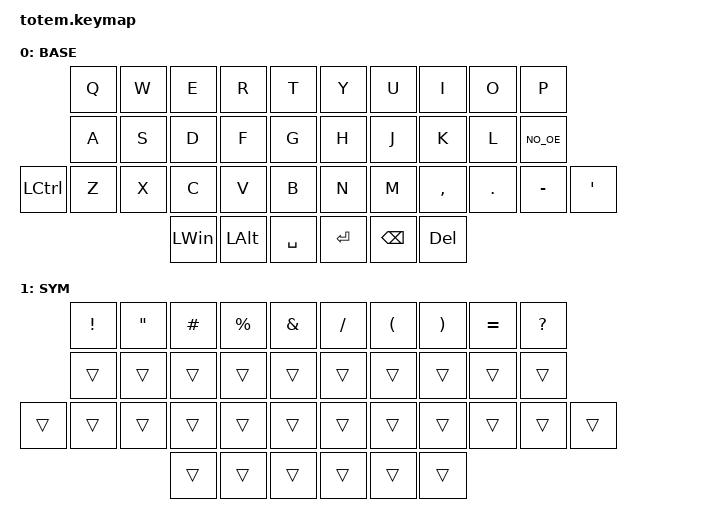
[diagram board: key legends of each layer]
//
//                                                        ▀▀▀▀▀     ▀▀▀▀▀          ▀▀█▀▀
//                                                        ▄▀▀▀▄  ▄  ▄▀▀▀▄  ▄  ▄▀▀▀▄  █  ▄▀▀▀▄
//                                                        █   █  █  █   █  █  █   █  █  █   █
//                                                         ▀▀▀   █   ▀▀▀   █   ▀▀▀   ▀   ▀▀▀
//                                                               █      ▄▄▄█▄▄▄    █   █  
//                                                               ▀      █  █  █     █▄█
//                                                             ▀▀▀▀▀    █  █  █      ▀
//                                                                      ▀  ▀  ▀
//
// ▄▄▄▄▄▄▄▄▄▄▄▄▄▄▄▄▄▄▄▄▄▄▄▄▄▄▄▄▄▄▄▄▄▄▄▄▄▄▄▄▄▄▄▄▄▄▄▄▄▄▄▄▄▄▄▄▄▄▄▄▄▄▄▄▄▄▄▄▄▄▄▄▄▄▄▄▄▄▄▄▄▄▄▄▄▄▄▄▄▄▄▄▄▄▄▄▄▄▄▄▄▄▄▄▄▄▄▄▄▄▄▄▄▄▄▄▄▄▄▄▄▄▄▄▄▄▄▄▄▄▄▄▄▄▄▄▄▄▄▄▄▄▄▄▄▄▄▄▄

#include <behaviors.dtsi>
#include <dt-bindings/zmk/keys.h>

#define BASE 0
#define SYM  1

#define AS(keycode) &as LS(keycode) keycode     // Autoshift Macro

&mt {
    quick-tap-ms = <100>;
    global-quick-tap;
    flavor = "tap-preferred";
    tapping-term-ms = <170>;
};

/ {
    behaviors {
        as: auto_shift {
            compatible = "zmk,behavior-hold-tap";
            label = "AUTO_SHIFT";
            #binding-cells = <2>;
            tapping_term_ms = <135>;
            quick_tap_ms = <0>;
            flavor = "tap-preferred";
            bindings = <&kp>, <&kp>;
        };
    };

    combos {
        compatible = "zmk,combos";

        combo_esc {
            timeout-ms = <50>;
            key-positions = <0 1>;
            bindings = <&mt LA(F4) ESC>;
        };

        combo_tab {
            bindings = <&mt LS(TAB) TAB>;
            key-positions = <0 11>;
        };
    };

    keymap {
        compatible = "zmk,keymap";

        // ▄▄▄▄▄▄▄▄▄▄▄▄▄▄▄▄▄▄▄▄▄▄▄▄▄▄▄▄▄▄▄▄▄▄▄▄▄▄▄▄▄▄▄▄▄▄▄▄▄▄▄▄▄▄▄▄▄▄▄▄▄▄▄▄▄▄▄▄▄▄▄▄▄▄▄▄▄▄▄▄▄▄▄▄▄▄▄▄▄▄▄▄▄▄▄▄▄▄▄▄▄▄▄▄▄▄▄▄▄▄▄▄▄▄▄▄▄▄▄▄▄▄▄▄▄▄▄▄▄▄▄▄▄▄▄▄▄▄▄▄▄▄▄▄▄▄▄▄▄

        base_layer {
            // ┏━━━━━━━━━━━━━━━━━━━━━━━━━━━━━━━━━━━━━━━┓

            label = "BASE";

            // ┗━━━━━━━━━━━━━━━━━━━━━━━━━━━━━━━━━━━━━━━┛
            //             ┏━━━━━━━━━━━┳━━━━━━━━━━━┳━━━━━━━━━━━┳━━━━━━━━━━━┳━━━━━━━━━━━┓   ┏━━━━━━━━━━━┳━━━━━━━━━━━┳━━━━━━━━━━━┳━━━━━━━━━━━┳━━━━━━━━━━━┓
            //             ┃     Q     ┃     W     ┃     E     ┃     R     ┃     T     ┃   ┃     Y     ┃     U     ┃     I     ┃     O     ┃     P     ┃
            //             ┣━━━━━━━━━━━╋━━━━━━━━━━━╋━━━━━━━━━━━╋━━━━━━━━━━━╋━━━━━━━━━━━┫   ┣━━━━━━━━━━━╋━━━━━━━━━━━╋━━━━━━━━━━━╋━━━━━━━━━━━╋━━━━━━━━━━━┫
            //             ┃     A     ┃     S     ┃     D     ┃     F     ┃     G     ┃   ┃     H     ┃     J     ┃     K     ┃     L     ┃    ÅÄÖ    ┃
            // ┏━━━━━━━━━━━╋━━━━━━━━━━━╋━━━━━━━━━━━╋━━━━━━━━━━━╋━━━━━━━━━━━╋━━━━━━━━━━━┫   ┣━━━━━━━━━━━╋━━━━━━━━━━━╋━━━━━━━━━━━╋━━━━━━━━━━━╋━━━━━━━━━━━╋━━━━━━━━━━━┓
            // ┃           ┃     Z     ┃     X     ┃     C     ┃     V     ┃     B     ┃   ┃     N     ┃     M     ┃     ,     ┃     .     ┃     -     ┃     '     ┃
            // ┗━━━━━━━━━━━┻━━━━━━━━━━━┻━━━━━━━━━━━╋━━━━━━━━━━━╋━━━━━━━━━━━╋━━━━━━━━━━━┫   ┣━━━━━━━━━━━╋━━━━━━━━━━━╋━━━━━━━━━━━╋━━━━━━━━━━━┻━━━━━━━━━━━┻━━━━━━━━━━━┛
            //                                     ┃           ┃    TAB    ┃    SPC    ┃   ┃   ENTER   ┃   BSPC    ┃    DEL    ┃
            //                                     ┗━━━━━━━━━━━┻━━━━━━━━━━━┻━━━━━━━━━━━┛   ┗━━━━━━━━━━━┻━━━━━━━━━━━┻━━━━━━━━━━━┛

            bindings = <
                  &kp Q  &kp W  &kp E         &kp R         &kp T        &kp Y    &kp U          &kp I       &kp O    &kp P
                  &kp A  &kp S  &kp D         &kp F         &kp G        &kp H    &kp J          &kp K       &kp L    &kp NO_OE
&kp LEFT_CONTROL  &kp Z  &kp X  &kp C         &kp V         &kp B        &kp N    &kp M          &kp COMMA   &kp DOT  &kp MINUS  &kp SQT
                                &kp LEFT_WIN  &kp LEFT_ALT  &kp SPACE    &kp RET  &kp BACKSPACE  &kp DELETE
            >;
        };

        // ▄▄▄▄▄▄▄▄▄▄▄▄▄▄▄▄▄▄▄▄▄▄▄▄▄▄▄▄▄▄▄▄▄▄▄▄▄▄▄▄▄▄▄▄▄▄▄▄▄▄▄▄▄▄▄▄▄▄▄▄▄▄▄▄▄▄▄▄▄▄▄▄▄▄▄▄▄▄▄▄▄▄▄▄▄▄▄▄▄▄▄▄▄▄▄▄▄▄▄▄▄▄▄▄▄▄▄▄▄▄▄▄▄▄▄▄▄▄▄▄▄▄▄▄▄▄▄▄▄▄▄▄▄▄▄▄▄▄▄▄▄▄▄▄▄▄▄▄▄
        // ▄▄▄▄▄▄▄▄▄▄▄▄▄▄▄▄▄▄▄▄▄▄▄▄▄▄▄▄▄▄▄▄▄▄▄▄▄▄▄▄▄▄▄▄▄▄▄▄▄▄▄▄▄▄▄▄▄▄▄▄▄▄▄▄▄▄▄▄▄▄▄▄▄▄▄▄▄▄▄▄▄▄▄▄▄▄▄▄▄▄▄▄▄▄▄▄▄▄▄▄▄▄▄▄▄▄▄▄▄▄▄▄▄▄▄▄▄▄▄▄▄▄▄▄▄▄▄▄▄▄▄▄▄▄▄▄▄▄▄▄▄▄▄▄▄▄▄▄▄
        // ▄▄▄▄▄▄▄▄▄▄▄▄▄▄▄▄▄▄▄▄▄▄▄▄▄▄▄▄▄▄▄▄▄▄▄▄▄▄▄▄▄▄▄▄▄▄▄▄▄▄▄▄▄▄▄▄▄▄▄▄▄▄▄▄▄▄▄▄▄▄▄▄▄▄▄▄▄▄▄▄▄▄▄▄▄▄▄▄▄▄▄▄▄▄▄▄▄▄▄▄▄▄▄▄▄▄▄▄▄▄▄▄▄▄▄▄▄▄▄▄▄▄▄▄▄▄▄▄▄▄▄▄▄▄▄▄▄▄▄▄▄▄▄▄▄▄▄▄▄
        // ▄▄▄▄▄▄▄▄▄▄▄▄▄▄▄▄▄▄▄▄▄▄▄▄▄▄▄▄▄▄▄▄▄▄▄▄▄▄▄▄▄▄▄▄▄▄▄▄▄▄▄▄▄▄▄▄▄▄▄▄▄▄▄▄▄▄▄▄▄▄▄▄▄▄▄▄▄▄▄▄▄▄▄▄▄▄▄▄▄▄▄▄▄▄▄▄▄▄▄▄▄▄▄▄▄▄▄▄▄▄▄▄▄▄▄▄▄▄▄▄▄▄▄▄▄▄▄▄▄▄▄▄▄▄▄▄▄▄▄▄▄▄▄▄▄▄▄▄▄
        // ▄▄▄▄▄▄▄▄▄▄▄▄▄▄▄▄▄▄▄▄▄▄▄▄▄▄▄▄▄▄▄▄▄▄▄▄▄▄▄▄▄▄▄▄▄▄▄▄▄▄▄▄▄▄▄▄▄▄▄▄▄▄▄▄▄▄▄▄▄▄▄▄▄▄▄▄▄▄▄▄▄▄▄▄▄▄▄▄▄▄▄▄▄▄▄▄▄▄▄▄▄▄▄▄▄▄▄▄▄▄▄▄▄▄▄▄▄▄▄▄▄▄▄▄▄▄▄▄▄▄▄▄▄▄▄▄▄▄▄▄▄▄▄▄▄▄▄▄▄

        sym_layer {
            bindings = <
        &kp EXCLAMATION  &kp DQT  &kp POUND  &kp PERCENT  &kp AMPERSAND    &kp SLASH  &kp LEFT_PARENTHESIS  &kp RIGHT_PARENTHESIS  &kp EQUAL  &kp QUESTION
        &trans           &trans   &trans     &trans       &trans           &trans     &trans                &trans                 &trans     &trans
&trans  &trans           &trans   &trans     &trans       &trans           &trans     &trans                &trans                 &trans     &trans        &trans
                                  &trans     &trans       &trans           &trans     &trans                &trans
            >;

            label = "SYM";
        };
    };
};
